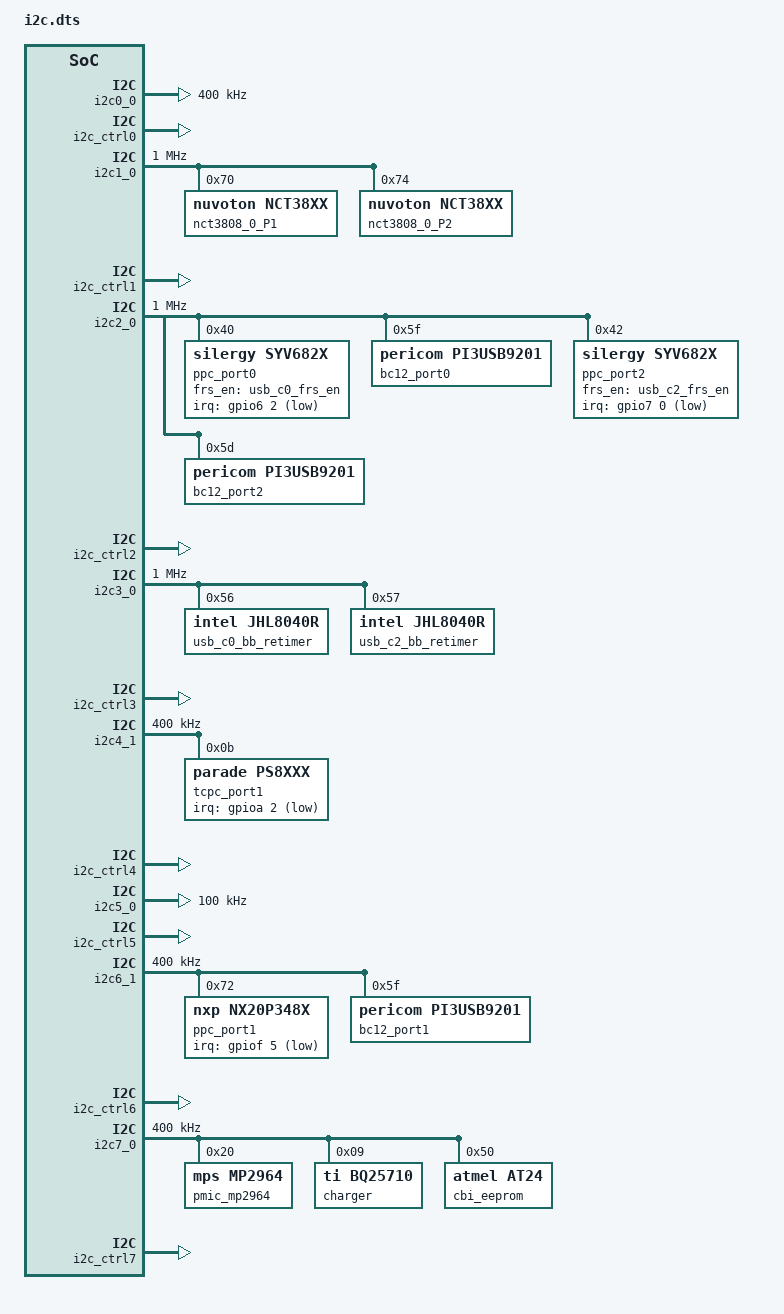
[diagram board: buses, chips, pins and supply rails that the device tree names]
/* Copyright 2022 The ChromiumOS Authors
 * Use of this source code is governed by a BSD-style license that can be
 * found in the LICENSE file.
 */

 #include <dt-bindings/usb_pd_tcpm.h>

/ {
	named-i2c-ports {
		compatible = "named-i2c-ports";
		i2c_sensor: sensor {
			i2c-port = <&i2c0_0>;
			enum-names = "I2C_PORT_SENSOR";
		};
		tcpc0_2: tcpc0_2 {
			i2c-port = <&i2c1_0>;
			enum-names = "I2C_PORT_USB_C0_C2_TCPC";
		};
		tcpc1: tcpc1 {
			i2c-port = <&i2c4_1>;
			enum-names = "I2C_PORT_USB_C1_TCPC";
			dynamic-speed;
		};
		c0_c2_bc12: c0_c2_bc12 {
			i2c-port = <&i2c2_0>;
			enum-names = "I2C_PORT_USB_C0_C2_PPC",
				"I2C_PORT_USB_C0_C2_BC12";
		};
		c1_bc12: c1_bc12 {
			i2c-port = <&i2c6_1>;
			enum-names = "I2C_PORT_USB_C1_PPC",
				"I2C_PORT_USB_C1_BC12";
			dynamic-speed;
		};
		retimer0_2: retimer0_2 {
			i2c-port = <&i2c3_0>;
			enum-names = "I2C_PORT_USB_C0_C2_MUX";
		};
		battery {
			i2c-port = <&i2c5_0>;
			enum-names = "I2C_PORT_BATTERY";
		};
		i2c_charger: charger {
			i2c-port = <&i2c7_0>;
			enum-names =  "I2C_PORT_CHARGER",
				"I2C_PORT_EEPROM",
				"I2C_PORT_MP2964";
		};
	};
};

&i2c0_0 {
	status = "okay";
	clock-frequency = <I2C_BITRATE_FAST>;
	pinctrl-0 = <&i2c0_0_sda_scl_gpb4_b5>;
	pinctrl-names = "default";
};

&i2c_ctrl0 {
	status = "okay";
};

&i2c1_0 {
	status = "okay";
	clock-frequency = <I2C_BITRATE_FAST_PLUS>;
	pinctrl-0 = <&i2c1_0_sda_scl_gp87_90>;
	pinctrl-names = "default";

	nct3808_0_P1: nct38xx@70 {
		compatible = "nuvoton,nct38xx";
		reg = <0x70>;

		tcpc_port0: nct38xx-tcpc {
			compatible = "nuvoton,nct38xx-tcpc";
			gpio-dev = <&nct38xx_gpio_0_P1>;
			tcpc-flags = <(
				TCPC_FLAGS_TCPCI_REV2_0 |
				TCPC_FLAGS_NO_DEBUG_ACC_CONTROL)>;
			/* a duplicate of the <&gpio_usb_c0_c2_tcpc_int_odl>
			 * node in * "named-gpios". This is the Zephyr preferred
			 * style, the "named-gpios" node will be dealt with at a
			 * later date.
			 */
			irq-gpios = <&gpioe 0 GPIO_ACTIVE_LOW>;
		};

		nct38xx_gpio_0_P1: nct38xx-gpio {
			#address-cells = <1>;
			#size-cells = <0>;
			compatible = "nuvoton,nct38xx-gpio";
			label = "NCT3808_0_P1";

			ioex_port1: gpio@0 {
				compatible = "nuvoton,nct38xx-gpio-port";
				reg = <0x0>;
				label = "NCT3808_0_P1_GPIO0";
				gpio-controller;
				#gpio-cells = <2>;
				ngpios = <8>;
				pin_mask = <0xdc>;
				pinmux_mask = <0xff>;
			};
		};
	};

	nct3808_0_P2: nct38xx@74 {
		compatible = "nuvoton,nct38xx";
		reg = <0x74>;

		tcpc_port2: nct38xx-tcpc {
			compatible = "nuvoton,nct38xx-tcpc";
			gpio-dev = <&nct38xx_gpio_0_P2>;
			tcpc-flags = <(TCPC_FLAGS_TCPCI_REV2_0)>;
			/* a duplicate of the <&gpio_usb_c0_c2_tcpc_int_odl>
			 * node in "named-gpios". This is the Zephyr preferred
			 * style, the "named-gpios" node will be dealt with at
			 * a later date.
			 */
			irq-gpios = <&gpioe 0 GPIO_ACTIVE_LOW>;
		};

		nct38xx_gpio_0_P2: nct38xx-gpio {
			#address-cells = <1>;
			#size-cells = <0>;
			compatible = "nuvoton,nct38xx-gpio";
			label = "NCT3808_0_P2";

			ioex_port2: gpio@0 {
				compatible = "nuvoton,nct38xx-gpio-port";
				reg = <0x0>;
				label = "NCT3808_0_P2_GPIO0";
				gpio-controller;
				#gpio-cells = <2>;
				ngpios = <8>;
				pin_mask = <0xdc>;
				pinmux_mask = <0xff>;
			};
		};
	};
};

&i2c_ctrl1 {
	status = "okay";
};

&i2c2_0 {
	status = "okay";
	clock-frequency = <I2C_BITRATE_FAST_PLUS>;
	pinctrl-0 = <&i2c2_0_sda_scl_gp91_92>;
	pinctrl-names = "default";

	ppc_port0: syv682x@40 {
		compatible = "silergy,syv682x";
		status = "okay";
		reg = <0x40>;
		frs_en_gpio = <&usb_c0_frs_en>;
		/* a duplicate of the <&gpio_usb_c0_ppc_int_odl> node in
		 * "named-gpios". This is the Zephyr preferred style,
		 * the "named-gpios" node will be dealt with at a later date.
		 */
		irq-gpios = <&gpio6 2 GPIO_ACTIVE_LOW>;
	};

	bc12_port0: pi3usb9201@5f {
		compatible = "pericom,pi3usb9201";
		status = "okay";
		reg = <0x5f>;
		irq = <&int_usb_c0_bc12>;
	};

	ppc_port2: syv682x@42 {
		compatible = "silergy,syv682x";
		status = "okay";
		reg = <0x42>;
		frs_en_gpio = <&usb_c2_frs_en>;
		/* a duplicate of the <&gpio_usb_c2_ppc_int_odl> node in
		 * "named-gpios". This is the Zephyr preferred style,
		 * the "named-gpios" node will be dealt with at a later date.
		 */
		irq-gpios = <&gpio7 0 GPIO_ACTIVE_LOW>;
	};

	bc12_port2: pi3usb9201@5d {
		compatible = "pericom,pi3usb9201";
		status = "okay";
		reg = <0x5d>;
		irq = <&int_usb_c2_bc12>;
	};
};

&i2c_ctrl2 {
	status = "okay";
};

&i2c3_0 {
	status = "okay";
	clock-frequency = <I2C_BITRATE_FAST_PLUS>;
	pinctrl-0 = <&i2c3_0_sda_scl_gpd0_d1>;
	pinctrl-names = "default";

	usb_c0_bb_retimer: jhl8040r-c0@56 {
		compatible = "intel,jhl8040r";
		reg = <0x56>;
		int-pin = <&usb_c0_rt_int_odl>;
		reset-pin = <&usb_c0_rt_rst_odl>;
	};

	usb_c2_bb_retimer: jhl8040r-c2@57 {
		compatible = "intel,jhl8040r";
		reg = <0x57>;
		int-pin = <&usb_c2_rt_int_odl>;
		reset-pin = <&usb_c2_rt_rst_odl>;
	};
};

&i2c_ctrl3 {
	status = "okay";
};

&i2c4_1 {
	status = "okay";
	clock-frequency = <I2C_BITRATE_FAST>;
	pinctrl-0 = <&i2c4_1_sda_scl_gpf2_f3>;
	pinctrl-names = "default";

	tcpc_port1: ps8xxx@b {
		compatible = "parade,ps8xxx";
		reg = <0xb>;
		tcpc-flags = <(
			TCPC_FLAGS_TCPCI_REV2_0 |
			TCPC_FLAGS_TCPCI_REV2_0_NO_VSAFE0V |
			TCPC_FLAGS_CONTROL_VCONN |
			TCPC_FLAGS_CONTROL_FRS)>;
		/* a duplicate of the <&gpio_usb_c1_tcpc_int_odl> node in
		 * "named-gpios". This is the Zephyr preferred style,
		 * the "named-gpios" node will be dealt with at a later date.
		 */
		 irq-gpios = <&gpioa 2 GPIO_ACTIVE_LOW>;
	};
};

&i2c_ctrl4 {
	status = "okay";
};

&i2c5_0 {
	status = "okay";
	clock-frequency = <I2C_BITRATE_STANDARD>;
	pinctrl-0 = <&i2c5_0_sda_scl_gp33_36>;
	pinctrl-names = "default";
};

&i2c_ctrl5 {
	status = "okay";
};

&i2c6_1 {
	status = "okay";
	clock-frequency = <I2C_BITRATE_FAST>;
	pinctrl-0 = <&i2c6_1_sda_scl_gpe3_e4>;
	pinctrl-names = "default";

	ppc_port1: nx20p348x@72 {
		compatible = "nxp,nx20p348x";
		status = "okay";
		reg = <0x72>;
		/* a duplicate of the <&gpio_usb_c1_ppc_int_odl> node in
		 * "named-gpios". This is the Zephyr preferred style,
		 * the "named-gpios" node will be dealt with at a later date.
		 */
		irq-gpios = <&gpiof 5 GPIO_ACTIVE_LOW>;
	};

	bc12_port1: pi3usb9201@5f {
		compatible = "pericom,pi3usb9201";
		status = "okay";
		reg = <0x5f>;
		irq = <&int_usb_c1_bc12>;
	};
};

&i2c_ctrl6 {
	status = "okay";
};

&i2c7_0 {
	status = "okay";
	clock-frequency = <I2C_BITRATE_FAST>;
	pinctrl-0 = <&i2c7_0_sda_scl_gpb2_b3>;
	pinctrl-names = "default";

	pmic_mp2964@20 {
		compatible = "mps,mp2964";
		reg = <0x20>;
	};

	charger: bq25710@9 {
		compatible = "ti,bq25710";
		status = "okay";
		reg = <0x9>;
	};

	cbi_eeprom: eeprom@50 {
		compatible = "atmel,at24";
		reg = <0x50>;
		size = <2048>;
		pagesize = <16>;
		address-width = <8>;
		timeout = <5>;
	};
};

&i2c_ctrl7 {
	status = "okay";
};
